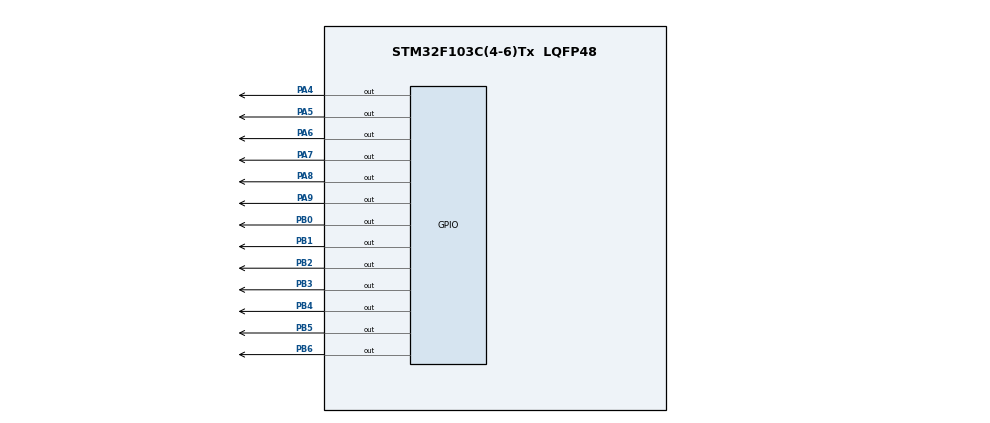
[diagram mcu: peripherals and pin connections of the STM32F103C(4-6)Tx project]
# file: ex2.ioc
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Mcu.Family=STM32F1
Mcu.Name=STM32F103C(4-6)Tx
Mcu.Package=LQFP48
NVIC.PriorityGroup=NVIC_PRIORITYGROUP_4
NVIC.TIM2_IRQn=true\:0\:0\:false\:false\:true\:true\:true
PA4.Signal=GPIO_Output
PA5.Signal=GPIO_Output
PA6.Signal=GPIO_Output
PA7.Signal=GPIO_Output
PA8.Signal=GPIO_Output
PA9.Signal=GPIO_Output
PB0.Signal=GPIO_Output
PB1.Signal=GPIO_Output
PB2.Signal=GPIO_Output
PB3.Signal=GPIO_Output
PB4.Signal=GPIO_Output
PB5.Signal=GPIO_Output
PB6.Signal=GPIO_Output
ProjectManager.HeapSize=0x200
ProjectManager.StackSize=0x400
ProjectManager.TargetToolchain=STM32CubeIDE
RCC.APB1Freq_Value=8000000
RCC.APB2Freq_Value=8000000
TIM2.Period=9
TIM2.Prescaler=7999
VP_SYS_VS_ND.Mode=No_Debug
VP_TIM2_VS_ClockSourceINT.Mode=Internal
board=custom

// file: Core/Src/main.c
/* USER CODE BEGIN Header */
/**
  ******************************************************************************
  * @file           : main.c
  * @brief          : Main program body
  ******************************************************************************
  * @attention
  *
  * <h2><center>&copy; Copyright (c) 2026 STMicroelectronics.
  * All rights reserved.</center></h2>
  *
  * This software component is licensed by ST under BSD 3-Clause license,
  * the "License"; You may not use this file except in compliance with the
  * License. You may obtain a copy of the License at:
  *                        opensource.org/licenses/BSD-3-Clause
  *
  ******************************************************************************
  */
/* USER CODE END Header */
#include "main.h"

TIM_HandleTypeDef htim2;

/* USER CODE BEGIN PV */
void display7SEG(int num)
{
    // Turn OFF all segments
    HAL_GPIO_WritePin(GPIOB,
        GPIO_PIN_0 |
        GPIO_PIN_1 |
        GPIO_PIN_2 |
        GPIO_PIN_3 |
        GPIO_PIN_4 |
        GPIO_PIN_5 |
        GPIO_PIN_6,
        GPIO_PIN_SET);

    switch(num)
    {
        case 0:
            // a b c d e f
            HAL_GPIO_WritePin(GPIOB,
                GPIO_PIN_0 |
                GPIO_PIN_1 |
                GPIO_PIN_2 |
                GPIO_PIN_3 |
                GPIO_PIN_4 |
                GPIO_PIN_5,
                GPIO_PIN_RESET);
            break;

        case 1:
            // b c
            HAL_GPIO_WritePin(GPIOB,
                GPIO_PIN_1 |
                GPIO_PIN_2,
                GPIO_PIN_RESET);
            break;

        case 2:
            // a b d e g
            HAL_GPIO_WritePin(GPIOB,
                GPIO_PIN_0 |
                GPIO_PIN_1 |
                GPIO_PIN_3 |
                GPIO_PIN_4 |
                GPIO_PIN_6,
                GPIO_PIN_RESET);
            break;

        case 3:
            // a b c d g
            HAL_GPIO_WritePin(GPIOB,
                GPIO_PIN_0 |
                GPIO_PIN_1 |
                GPIO_PIN_2 |
                GPIO_PIN_3 |
                GPIO_PIN_6,
                GPIO_PIN_RESET);
            break;

        default:
            break;
    }
}
/* USER CODE END PV */

void SystemClock_Config(void);
static void MX_GPIO_Init(void);
static void MX_TIM2_Init(void);

int scan_counter = 0;
int dot_counter = 0;

int led_index = 0;

int led_buffer[4] = {1, 2, 3, 0};
void HAL_TIM_PeriodElapsedCallback(TIM_HandleTypeDef *htim)
{
    if(htim->Instance == TIM2)
    {
        scan_counter++;
        dot_counter++;

        // =========================================
        // Seven-segment scanning every 500 ms
        // =========================================
        if(scan_counter >= 50)
        {
            scan_counter = 0;

            // Turn OFF all 4 seven-segment displays
            HAL_GPIO_WritePin(GPIOA,
                GPIO_PIN_6 |
                GPIO_PIN_7 |
                GPIO_PIN_8 |
                GPIO_PIN_9,
                GPIO_PIN_SET);

            // Display corresponding number
            display7SEG(led_buffer[led_index]);

            switch(led_index)
            {
                case 0:

                    // EN0 -> first LED
                    HAL_GPIO_WritePin(GPIOA,
                        GPIO_PIN_6,
                        GPIO_PIN_RESET);

                    break;

                case 1:

                    // EN1 -> second LED
                    HAL_GPIO_WritePin(GPIOA,
                        GPIO_PIN_7,
                        GPIO_PIN_RESET);

                    break;

                case 2:

                    // EN2 -> third LED
                    HAL_GPIO_WritePin(GPIOA,
                        GPIO_PIN_8,
                        GPIO_PIN_RESET);

                    break;

                case 3:

                    // EN3 -> fourth LED
                    HAL_GPIO_WritePin(GPIOA,
                        GPIO_PIN_9,
                        GPIO_PIN_RESET);

                    break;
            }

            led_index++;

            if(led_index >= 4)
            {
                led_index = 0;
            }
        }

        // =========================================
        // Blink DOT every 1 second
        // =========================================
        if(dot_counter >= 100)
        {
            dot_counter = 0;

            HAL_GPIO_TogglePin(GPIOA, GPIO_PIN_4);
        }
    }
}

int main(void)
{

  /* MCU Configuration--------------------------------------------------------*/

  /* Reset of all peripherals, Initializes the Flash interface and the Systick. */
  HAL_Init();

  /* Configure the system clock */
  SystemClock_Config();

  /* Initialize all configured peripherals */
  MX_GPIO_Init();
  MX_TIM2_Init();
  /* USER CODE BEGIN 2 */
  HAL_TIM_Base_Start_IT(&htim2);

  /* USER CODE END 2 */

  /* Infinite loop */
  while (1)
  {

  }
}

void SystemClock_Config(void)
{
  RCC_OscInitTypeDef RCC_OscInitStruct = {0};
  RCC_ClkInitTypeDef RCC_ClkInitStruct = {0};

  /** Initializes the RCC Oscillators according to the specified parameters
  * in the RCC_OscInitTypeDef structure.
  */
  RCC_OscInitStruct.OscillatorType = RCC_OSCILLATORTYPE_HSI;
  RCC_OscInitStruct.HSIState = RCC_HSI_ON;
  RCC_OscInitStruct.HSICalibrationValue = RCC_HSICALIBRATION_DEFAULT;
  RCC_OscInitStruct.PLL.PLLState = RCC_PLL_NONE;
  if (HAL_RCC_OscConfig(&RCC_OscInitStruct) != HAL_OK)
  {
    Error_Handler();
  }
  /** Initializes the CPU, AHB and APB buses clocks
  */
  RCC_ClkInitStruct.ClockType = RCC_CLOCKTYPE_HCLK|RCC_CLOCKTYPE_SYSCLK
                              |RCC_CLOCKTYPE_PCLK1|RCC_CLOCKTYPE_PCLK2;
  RCC_ClkInitStruct.SYSCLKSource = RCC_SYSCLKSOURCE_HSI;
  RCC_ClkInitStruct.AHBCLKDivider = RCC_SYSCLK_DIV1;
  RCC_ClkInitStruct.APB1CLKDivider = RCC_HCLK_DIV1;
  RCC_ClkInitStruct.APB2CLKDivider = RCC_HCLK_DIV1;

  if (HAL_RCC_ClockConfig(&RCC_ClkInitStruct, FLASH_LATENCY_0) != HAL_OK)
  {
    Error_Handler();
  }
}

static void MX_TIM2_Init(void)
{

  TIM_ClockConfigTypeDef sClockSourceConfig = {0};
  TIM_MasterConfigTypeDef sMasterConfig = {0};

  htim2.Instance = TIM2;
  htim2.Init.Prescaler = 7999;
  htim2.Init.CounterMode = TIM_COUNTERMODE_UP;
  htim2.Init.Period = 9;
  htim2.Init.ClockDivision = TIM_CLOCKDIVISION_DIV1;
  htim2.Init.AutoReloadPreload = TIM_AUTORELOAD_PRELOAD_DISABLE;
  if (HAL_TIM_Base_Init(&htim2) != HAL_OK)
  {
    Error_Handler();
  }
  sClockSourceConfig.ClockSource = TIM_CLOCKSOURCE_INTERNAL;
  if (HAL_TIM_ConfigClockSource(&htim2, &sClockSourceConfig) != HAL_OK)
  {
    Error_Handler();
  }
  sMasterConfig.MasterOutputTrigger = TIM_TRGO_RESET;
  sMasterConfig.MasterSlaveMode = TIM_MASTERSLAVEMODE_DISABLE;
  if (HAL_TIMEx_MasterConfigSynchronization(&htim2, &sMasterConfig) != HAL_OK)
  {
    Error_Handler();
  }

}

static void MX_GPIO_Init(void)
{
  GPIO_InitTypeDef GPIO_InitStruct = {0};

  /* GPIO Ports Clock Enable */
  __HAL_RCC_GPIOA_CLK_ENABLE();
  __HAL_RCC_GPIOB_CLK_ENABLE();

  /*Configure GPIO pin Output Level */
  HAL_GPIO_WritePin(GPIOA, GPIO_PIN_4|GPIO_PIN_5|GPIO_PIN_6|GPIO_PIN_7
                          |GPIO_PIN_8|GPIO_PIN_9, GPIO_PIN_RESET);

  /*Configure GPIO pin Output Level */
  HAL_GPIO_WritePin(GPIOB, GPIO_PIN_0|GPIO_PIN_1|GPIO_PIN_2|GPIO_PIN_3
                          |GPIO_PIN_4|GPIO_PIN_5|GPIO_PIN_6, GPIO_PIN_RESET);

  /*Configure GPIO pins : PA4 PA5 PA6 PA7
                           PA8 PA9 */
  GPIO_InitStruct.Pin = GPIO_PIN_4|GPIO_PIN_5|GPIO_PIN_6|GPIO_PIN_7
                          |GPIO_PIN_8|GPIO_PIN_9;
  GPIO_InitStruct.Mode = GPIO_MODE_OUTPUT_PP;
  GPIO_InitStruct.Pull = GPIO_NOPULL;
  GPIO_InitStruct.Speed = GPIO_SPEED_FREQ_LOW;
  HAL_GPIO_Init(GPIOA, &GPIO_InitStruct);

  /*Configure GPIO pins : PB0 PB1 PB2 PB3
                           PB4 PB5 PB6 */
  GPIO_InitStruct.Pin = GPIO_PIN_0|GPIO_PIN_1|GPIO_PIN_2|GPIO_PIN_3
                          |GPIO_PIN_4|GPIO_PIN_5|GPIO_PIN_6;
  GPIO_InitStruct.Mode = GPIO_MODE_OUTPUT_PP;
  GPIO_InitStruct.Pull = GPIO_NOPULL;
  GPIO_InitStruct.Speed = GPIO_SPEED_FREQ_LOW;
  HAL_GPIO_Init(GPIOB, &GPIO_InitStruct);

}

void Error_Handler(void)
{
  __disable_irq();
  while (1)
  {
  }
}

/************************ (C) COPYRIGHT STMicroelectronics *****END OF FILE****/
